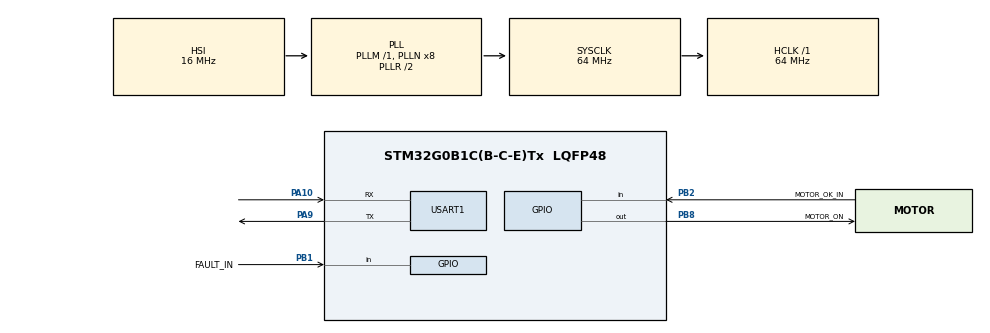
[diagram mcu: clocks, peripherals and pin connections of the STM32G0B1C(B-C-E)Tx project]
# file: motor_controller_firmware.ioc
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Mcu.Family=STM32G0
Mcu.Name=STM32G0B1C(B-C-E)Tx
Mcu.Package=LQFP48
PA10.Mode=Asynchronous
PA10.Signal=USART1_RX
PA9.Mode=Asynchronous
PA9.Signal=USART1_TX
PB1.GPIO_Label=FAULT_IN
PB1.GPIO_PuPd=GPIO_PULLUP
PB1.Signal=GPIO_Input
PB2.GPIO_Label=MOTOR_OK_IN
PB2.GPIO_PuPd=GPIO_PULLUP
PB2.Signal=GPIO_Input
PB8.GPIO_Label=MOTOR_ON
PB8.Signal=GPIO_Output
ProjectManager.HeapSize=0x200
ProjectManager.StackSize=0x400
ProjectManager.TargetToolchain=CMake
RCC.ADCFreq_Value=64000000
RCC.AHBFreq_Value=64000000
RCC.CortexFreq_Value=64000000
RCC.EXTERNAL_CLOCK_VALUE=48000
RCC.HCLKFreq_Value=64000000
RCC.HSE_VALUE=8000000
RCC.HSI48_VALUE=48000000
RCC.HSI_VALUE=16000000
RCC.LSE_VALUE=32768
RCC.SYSCLKFreq_VALUE=64000000
RCC.SYSCLKSource=RCC_SYSCLKSOURCE_PLLCLK
RCC.USBFreq_Value=48000000
RCC.VCOOutputFreq_Value=128000000
USART1.VirtualMode-Asynchronous=VM_ASYNC
VP_SYS_VS_DBSignals.Mode=DisableDeadBatterySignals
board=custom

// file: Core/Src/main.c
/* USER CODE BEGIN Header */
/**
  ******************************************************************************
  * @file           : main.c
  * @brief          : Main program body
  ******************************************************************************
  * @attention
  *
  * Copyright (c) 2026 STMicroelectronics.
  * All rights reserved.
  *
  * This software is licensed under terms that can be found in the LICENSE file
  * in the root directory of this software component.
  * If no LICENSE file comes with this software, it is provided AS-IS.
  *
  ******************************************************************************
  */
/* USER CODE END Header */
#include "main.h"
#include "usart.h"
#include "gpio.h"

/* USER CODE BEGIN Includes */
#include "gsm.h"
#include "firebase.h"
#include <string.h>
/* USER CODE END Includes */

/* USER CODE BEGIN PD */
/* M2M SIM APN — ask your SIM provider for the correct APN string */
#define GSM_APN "internet"
/* How often to poll Firebase for commands (milliseconds) */
#define POLL_INTERVAL_MS 5000
/* USER CODE END PD */

/* USER CODE BEGIN PV */
static char motor_command[8] = "OFF";
static bool motor_running = false;
static bool fault_active = false;
static bool motor_ok = false;
static bool gsm_connected = false;
/* USER CODE END PV */

void SystemClock_Config(void);
/* USER CODE BEGIN PFP */
static void ReadInputPins(void);
static void ApplyMotorCommand(void);
/* USER CODE END PFP */

int main(void)
{

  /* MCU Configuration--------------------------------------------------------*/

  /* Reset of all peripherals, Initializes the Flash interface and the Systick. */
  HAL_Init();

  /* Configure the system clock */
  SystemClock_Config();

  /* Initialize all configured peripherals */
  MX_GPIO_Init();
  MX_USART1_UART_Init();
  /* USER CODE BEGIN 2 */
  GSM_Init(&huart1);

  /* Wait for A7670 to boot and connect to network */
  gsm_connected = Firebase_Init(GSM_APN);

  /* If GSM failed, motor stays OFF (safe default) */
  /* USER CODE END 2 */

  /* Infinite loop */
  while (1)
  {

    /* USER CODE BEGIN 3 */

    ReadInputPins();

    if (gsm_connected)
    {
      /* Read motor ON/OFF command from Firebase */
      char cmd[8];
      if (Firebase_ReadCommand(cmd, sizeof(cmd)))
      {
        strncpy(motor_command, cmd, sizeof(motor_command) - 1);
        motor_command[sizeof(motor_command) - 1] = '\0';
      }

      ApplyMotorCommand();

      /* Report status back to Firebase */
      Firebase_UpdateStatus(motor_running, fault_active, motor_ok);
    }
    else
    {
      /* Try to reconnect */
      gsm_connected = Firebase_Init(GSM_APN);
    }

    HAL_Delay(POLL_INTERVAL_MS);
  }
  /* USER CODE END 3 */
}

void SystemClock_Config(void)
{
  RCC_OscInitTypeDef RCC_OscInitStruct = {0};
  RCC_ClkInitTypeDef RCC_ClkInitStruct = {0};

  /** Configure the main internal regulator output voltage
  */
  HAL_PWREx_ControlVoltageScaling(PWR_REGULATOR_VOLTAGE_SCALE1);

  /** Initializes the RCC Oscillators according to the specified parameters
  * in the RCC_OscInitTypeDef structure.
  */
  RCC_OscInitStruct.OscillatorType = RCC_OSCILLATORTYPE_HSI;
  RCC_OscInitStruct.HSIState = RCC_HSI_ON;
  RCC_OscInitStruct.HSIDiv = RCC_HSI_DIV1;
  RCC_OscInitStruct.HSICalibrationValue = RCC_HSICALIBRATION_DEFAULT;
  RCC_OscInitStruct.PLL.PLLState = RCC_PLL_ON;
  RCC_OscInitStruct.PLL.PLLSource = RCC_PLLSOURCE_HSI;
  RCC_OscInitStruct.PLL.PLLM = RCC_PLLM_DIV1;
  RCC_OscInitStruct.PLL.PLLN = 8;
  RCC_OscInitStruct.PLL.PLLP = RCC_PLLP_DIV2;
  RCC_OscInitStruct.PLL.PLLQ = RCC_PLLQ_DIV2;
  RCC_OscInitStruct.PLL.PLLR = RCC_PLLR_DIV2;
  if (HAL_RCC_OscConfig(&RCC_OscInitStruct) != HAL_OK)
  {
    Error_Handler();
  }

  /** Initializes the CPU, AHB and APB buses clocks
  */
  RCC_ClkInitStruct.ClockType = RCC_CLOCKTYPE_HCLK|RCC_CLOCKTYPE_SYSCLK
                              |RCC_CLOCKTYPE_PCLK1;
  RCC_ClkInitStruct.SYSCLKSource = RCC_SYSCLKSOURCE_PLLCLK;
  RCC_ClkInitStruct.AHBCLKDivider = RCC_SYSCLK_DIV1;
  RCC_ClkInitStruct.APB1CLKDivider = RCC_HCLK_DIV1;

  if (HAL_RCC_ClockConfig(&RCC_ClkInitStruct, FLASH_LATENCY_2) != HAL_OK)
  {
    Error_Handler();
  }
}

/* USER CODE BEGIN 4 */
static void ReadInputPins(void)
{
  /* Pull-up resistors on inputs: pin LOW = active signal */
  fault_active = (HAL_GPIO_ReadPin(FAULT_IN_GPIO_Port, FAULT_IN_Pin) == GPIO_PIN_RESET);
  motor_ok = (HAL_GPIO_ReadPin(MOTOR_OK_IN_GPIO_Port, MOTOR_OK_IN_Pin) == GPIO_PIN_RESET);
  motor_running = motor_ok && !fault_active;
}

static void ApplyMotorCommand(void)
{
  if (fault_active)
  {
    /* Safety: never turn on motor during fault */
    HAL_GPIO_WritePin(MOTOR_ON_GPIO_Port, MOTOR_ON_Pin, GPIO_PIN_RESET);
    return;
  }

  if (strcmp(motor_command, "ON") == 0)
    HAL_GPIO_WritePin(MOTOR_ON_GPIO_Port, MOTOR_ON_Pin, GPIO_PIN_SET);
  else
    HAL_GPIO_WritePin(MOTOR_ON_GPIO_Port, MOTOR_ON_Pin, GPIO_PIN_RESET);
}
/* USER CODE END 4 */

void Error_Handler(void)
{
  __disable_irq();
  while (1)
  {
  }
}
